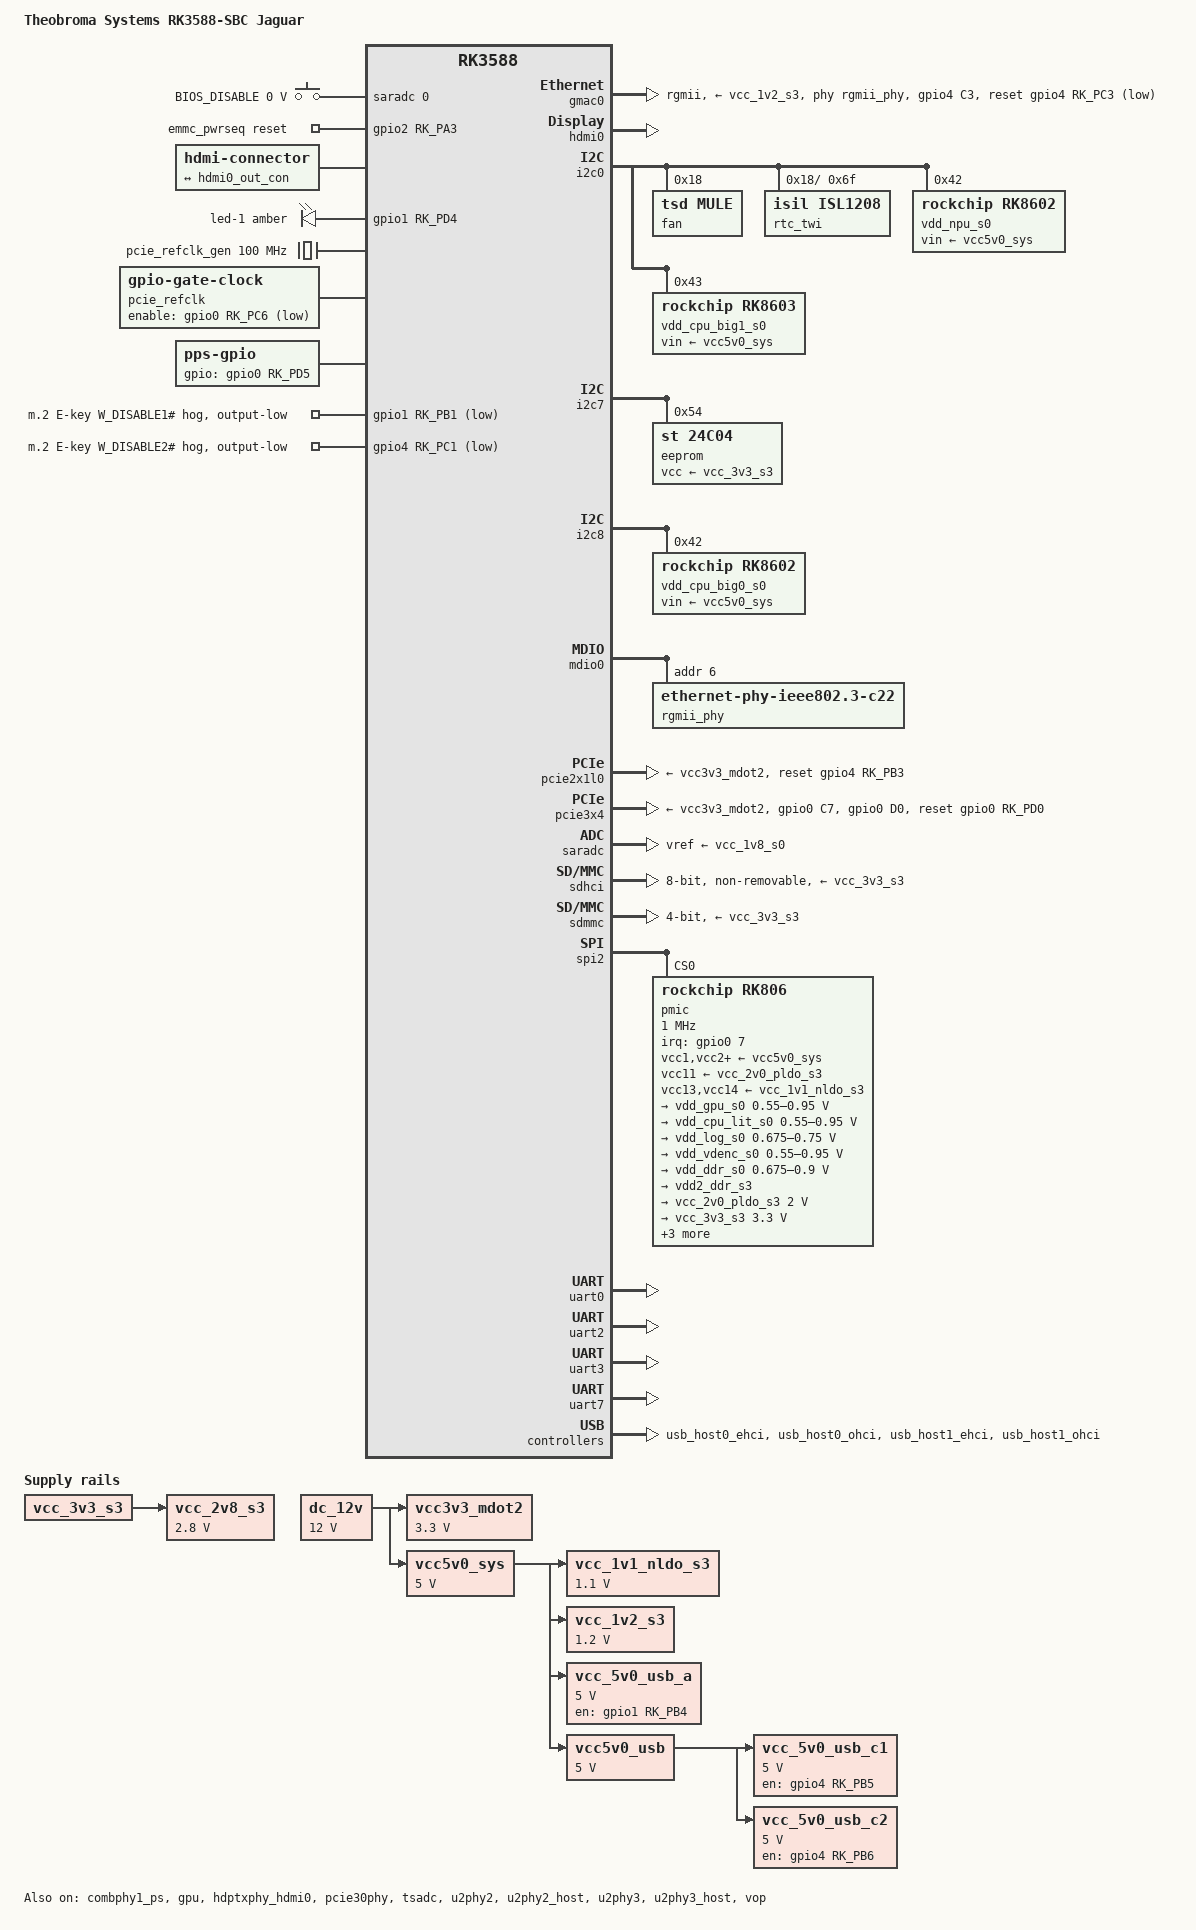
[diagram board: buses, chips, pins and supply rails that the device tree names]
// SPDX-License-Identifier: (GPL-2.0+ OR MIT)
/*
 * Copyright (c) 2023 Theobroma Systems Design und Consulting GmbH
 */

/dts-v1/;
#include <dt-bindings/gpio/gpio.h>
#include <dt-bindings/input/input.h>
#include <dt-bindings/leds/common.h>
#include <dt-bindings/pinctrl/rockchip.h>
#include <dt-bindings/soc/rockchip,vop2.h>
#include <dt-bindings/usb/pd.h>
#include "rk3588.dtsi"

/ {
	model = "Theobroma Systems RK3588-SBC Jaguar";
	compatible = "tsd,rk3588-jaguar", "rockchip,rk3588";

	adc-keys {
		compatible = "adc-keys";
		io-channels = <&saradc 0>;
		io-channel-names = "buttons";
		keyup-threshold-microvolt = <1800000>;
		poll-interval = <100>;

		/* Can be controlled through SW2 but also GPIO1 on CP2102 on P20 */
		button-bios-disable {
			label = "BIOS_DISABLE";
			linux,code = <KEY_VENDOR>;
			press-threshold-microvolt = <0>;
		};
	};

	aliases {
		ethernet0 = &gmac0;
		i2c10 = &i2c10;
		mmc0 = &sdhci;
		mmc1 = &sdmmc;
		rtc0 = &rtc_twi;
	};

	chosen {
		stdout-path = "serial2:115200n8";
	};

	/* DCIN is 12-24V but standard is 12V */
	dc_12v: regulator-dc-12v {
		compatible = "regulator-fixed";
		regulator-name = "dc_12v";
		regulator-always-on;
		regulator-boot-on;
		regulator-min-microvolt = <12000000>;
		regulator-max-microvolt = <12000000>;
	};

	emmc_pwrseq: emmc-pwrseq {
		compatible = "mmc-pwrseq-emmc";
		pinctrl-0 = <&emmc_reset>;
		pinctrl-names = "default";
		reset-gpios = <&gpio2 RK_PA3 GPIO_ACTIVE_HIGH>;
	};

	hdmi-con {
		compatible = "hdmi-connector";
		type = "a";

		port {
			hdmi_con_in: endpoint {
				remote-endpoint = <&hdmi0_out_con>;
			};
		};
	};

	leds {
		compatible = "gpio-leds";
		pinctrl-names = "default";
		pinctrl-0 = <&led1_pin>;

		/* LED1 on PCB */
		led-1 {
			gpios = <&gpio1 RK_PD4 GPIO_ACTIVE_HIGH>;
			function = LED_FUNCTION_HEARTBEAT;
			linux,default-trigger = "heartbeat";
			color = <LED_COLOR_ID_AMBER>;
		};
	};

	/*
	 * 100MHz reference clock for PCIe peripherals from PI6C557-05BLE
	 * clock generator.
	 * The clock output is gated via the OE pin on the clock generator.
	 * This is modeled as a fixed-clock plus a gpio-gate-clock.
	 */
	pcie_refclk_gen: pcie-refclk-gen-clock {
		compatible = "fixed-clock";
		#clock-cells = <0>;
		clock-frequency = <100000000>;
	};

	pcie_refclk: pcie-refclk-clock {
		compatible = "gpio-gate-clock";
		clocks = <&pcie_refclk_gen>;
		#clock-cells = <0>;
		enable-gpios = <&gpio0 RK_PC6 GPIO_ACTIVE_LOW>; /* PCIE30X4_CLKREQN_M0 */
		pinctrl-names = "default";
		pinctrl-0 = <&pcie30x4_clkreqn_m0>;
	};

	pps {
		compatible = "pps-gpio";
		gpios = <&gpio0 RK_PD5 GPIO_ACTIVE_HIGH>;
	};

	vcc_1v1_nldo_s3: regulator-vcc-1v1-nldo-s3 {
		compatible = "regulator-fixed";
		regulator-name = "vcc_1v1_nldo_s3";
		regulator-always-on;
		regulator-boot-on;
		regulator-min-microvolt = <1100000>;
		regulator-max-microvolt = <1100000>;
		vin-supply = <&vcc5v0_sys>;
	};

	vcc_1v2_s3: regulator-vcc-1v2-s3 {
		compatible = "regulator-fixed";
		regulator-name = "vcc_1v2_s3";
		regulator-always-on;
		regulator-boot-on;
		regulator-min-microvolt = <1200000>;
		regulator-max-microvolt = <1200000>;
		vin-supply = <&vcc5v0_sys>;
	};

	/* Exposed on P14 and P15 */
	vcc_2v8_s3: regulator-vcc-2v8-s3 {
		compatible = "regulator-fixed";
		regulator-name = "vcc_2v8_s3";
		regulator-always-on;
		regulator-boot-on;
		regulator-min-microvolt = <2800000>;
		regulator-max-microvolt = <2800000>;
		vin-supply = <&vcc_3v3_s3>;
	};

	vcc_5v0_usb_a: regulator-vcc-5v0-usb-a {
		compatible = "regulator-fixed";
		regulator-name = "usb_a_vcc";
		regulator-min-microvolt = <5000000>;
		regulator-max-microvolt = <5000000>;
		vin-supply = <&vcc5v0_sys>;
		gpio = <&gpio1 RK_PB4 GPIO_ACTIVE_HIGH>;
		enable-active-high;
	};

	vcc_5v0_usb_c1: regulator-vcc-5v0-usb-c1 {
		compatible = "regulator-fixed";
		regulator-name = "5v_usbc1";
		regulator-min-microvolt = <5000000>;
		regulator-max-microvolt = <5000000>;
		vin-supply = <&vcc5v0_usb>;
		gpio = <&gpio4 RK_PB5 GPIO_ACTIVE_HIGH>;
		enable-active-high;
	};

	vcc_5v0_usb_c2: regulator-vcc-5v0-usb-c2 {
		compatible = "regulator-fixed";
		regulator-name = "5v_usbc2";
		regulator-min-microvolt = <5000000>;
		regulator-max-microvolt = <5000000>;
		vin-supply = <&vcc5v0_usb>;
		gpio = <&gpio4 RK_PB6 GPIO_ACTIVE_HIGH>;
		enable-active-high;
	};

	vcc3v3_mdot2: regulator-vcc3v3-mdot2 {
		compatible = "regulator-fixed";
		regulator-name = "vcc3v3_mdot2";
		regulator-always-on;
		regulator-boot-on;
		regulator-min-microvolt = <3300000>;
		regulator-max-microvolt = <3300000>;
		vin-supply = <&dc_12v>;
	};

	vcc5v0_sys: regulator-vcc5v0-sys {
		compatible = "regulator-fixed";
		regulator-name = "vcc5v0_sys";
		regulator-always-on;
		regulator-boot-on;
		regulator-min-microvolt = <5000000>;
		regulator-max-microvolt = <5000000>;
		vin-supply = <&dc_12v>;
	};

	vcc5v0_usb: regulator-vcc5v0-usb {
		compatible = "regulator-fixed";
		regulator-name = "vcc5v0_usb";
		regulator-always-on;
		regulator-boot-on;
		regulator-min-microvolt = <5000000>;
		regulator-max-microvolt = <5000000>;
		vin-supply = <&vcc5v0_sys>;
	};
};

&combphy1_ps {
	status = "okay";
};

&cpu_b0 {
	cpu-supply = <&vdd_cpu_big0_s0>;
};

&cpu_b1 {
	cpu-supply = <&vdd_cpu_big0_s0>;
};

&cpu_b2 {
	cpu-supply = <&vdd_cpu_big1_s0>;
};

&cpu_b3 {
	cpu-supply = <&vdd_cpu_big1_s0>;
};

&cpu_l0 {
	cpu-supply = <&vdd_cpu_lit_s0>;
};

&cpu_l1 {
	cpu-supply = <&vdd_cpu_lit_s0>;
};

&cpu_l2 {
	cpu-supply = <&vdd_cpu_lit_s0>;
};

&cpu_l3 {
	cpu-supply = <&vdd_cpu_lit_s0>;
};

&gmac0 {
	clock_in_out = "output";
	phy-handle = <&rgmii_phy>;
	phy-mode = "rgmii";
	phy-supply = <&vcc_1v2_s3>;
	pinctrl-names = "default";
	pinctrl-0 = <&gmac0_miim
		     &gmac0_rx_bus2
		     &gmac0_tx_bus2
		     &gmac0_rgmii_clk
		     &gmac0_rgmii_bus
		     &eth0_pins
		     &eth_reset>;
	tx_delay = <0x10>;
	rx_delay = <0x10>;
	snps,reset-gpio = <&gpio4 RK_PC3 GPIO_ACTIVE_LOW>;
	snps,reset-active-low;
	snps,reset-delays-us = <0 10000 100000>;

	status = "okay";
};

&gpio1 {
	mdot2e-w-disable1-n-hog {
		gpios = <RK_PB1 GPIO_ACTIVE_LOW>;
		output-low;
		line-name = "m.2 E-key W_DISABLE1#";
		gpio-hog;
	};
};

&gpio4 {
	mdot2e-w-disable2-n-hog {
		gpios = <RK_PC1 GPIO_ACTIVE_LOW>;
		output-low;
		line-name = "m.2 E-key W_DISABLE2#";
		gpio-hog;
	};
};

&gpu {
	mali-supply = <&vdd_gpu_s0>;
	status = "okay";
};

&hdmi0 {
	/* No CEC on Jaguar */
	pinctrl-names = "default";
	pinctrl-0 = <&hdmim0_tx0_hpd &hdmim0_tx0_scl &hdmim0_tx0_sda>;
	status = "okay";
};

&hdmi0_in {
	hdmi0_in_vp0: endpoint {
		remote-endpoint = <&vp0_out_hdmi0>;
	};
};

&hdmi0_out {
	hdmi0_out_con: endpoint {
		remote-endpoint = <&hdmi_con_in>;
	};
};

&hdptxphy_hdmi0 {
	status = "okay";
};

&i2c0 {
	pinctrl-0 = <&i2c0m2_xfer>;
	status = "okay";

	fan@18 {
		compatible = "tsd,mule", "ti,amc6821";
		reg = <0x18>;

		i2c-mux {
			compatible = "tsd,mule-i2c-mux";
			#address-cells = <1>;
			#size-cells = <0>;

			i2c10: i2c@0 {
				reg = <0x0>;
				#address-cells = <1>;
				#size-cells = <0>;

				rtc_twi: rtc@6f {
					compatible = "isil,isl1208";
					reg = <0x6f>;
				};
			};
		};
	};

	vdd_npu_s0: regulator@42 {
		compatible = "rockchip,rk8602";
		reg = <0x42>;
		fcs,suspend-voltage-selector = <1>;
		regulator-name = "vdd_npu_s0";
		regulator-always-on;
		regulator-boot-on;
		regulator-min-microvolt = <550000>;
		regulator-max-microvolt = <950000>;
		regulator-ramp-delay = <2300>;
		vin-supply = <&vcc5v0_sys>;

		regulator-state-mem {
			regulator-off-in-suspend;
		};
	};

	vdd_cpu_big1_s0: regulator@43 {
		compatible = "rockchip,rk8603", "rockchip,rk8602";
		reg = <0x43>;
		fcs,suspend-voltage-selector = <1>;
		regulator-name = "vdd_cpu_big1_s0";
		regulator-always-on;
		regulator-boot-on;
		regulator-min-microvolt = <550000>;
		regulator-max-microvolt = <1050000>;
		regulator-ramp-delay = <2300>;
		vin-supply = <&vcc5v0_sys>;

		regulator-state-mem {
			regulator-off-in-suspend;
		};
	};
};

&i2c1 {
	pinctrl-0 = <&i2c1m4_xfer>;
};

&i2c6 {
	pinctrl-0 = <&i2c6m4_xfer>;
};

&i2c7 {
	status = "okay";

	/* SE050 Secure Element at 0x48; GPIO1_A4 for enable pin */

	/* Also on 0x55 */
	eeprom@54 {
		compatible = "st,24c04", "atmel,24c04";
		reg = <0x54>;
		pagesize = <16>;
		vcc-supply = <&vcc_3v3_s3>;
	};
};

&i2c8 {
	pinctrl-0 = <&i2c8m2_xfer>;
	status = "okay";

	vdd_cpu_big0_s0: regulator@42 {
		compatible = "rockchip,rk8602";
		reg = <0x42>;
		fcs,suspend-voltage-selector = <1>;
		regulator-name = "vdd_cpu_big0_s0";
		regulator-always-on;
		regulator-boot-on;
		regulator-min-microvolt = <550000>;
		regulator-max-microvolt = <1050000>;
		regulator-ramp-delay = <2300>;
		vin-supply = <&vcc5v0_sys>;

		regulator-state-mem {
			regulator-off-in-suspend;
		};
	};
};

&mdio0 {
	rgmii_phy: ethernet-phy@6 {
		/* KSZ9031 or KSZ9131 */
		compatible = "ethernet-phy-ieee802.3-c22";
		reg = <0x6>;
		clocks = <&cru REFCLKO25M_ETH0_OUT>;
	};
};

&pcie2x1l0 {
	reset-gpios = <&gpio4 RK_PB3 GPIO_ACTIVE_HIGH>; /* WIFI_PERST0# */
	vpcie3v3-supply = <&vcc3v3_mdot2>;
	status = "okay";
};

&pcie30phy {
	status = "okay";
};

&pcie3x4 {
	/*
	 * The board has a gpio-controlled "pcie_refclk" generator,
	 * so add it to the list of clocks.
	 */
	clocks = <&cru ACLK_PCIE_4L_MSTR>, <&cru ACLK_PCIE_4L_SLV>,
		 <&cru ACLK_PCIE_4L_DBI>, <&cru PCLK_PCIE_4L>,
		 <&cru CLK_PCIE_AUX0>, <&cru CLK_PCIE4L_PIPE>,
		 <&pcie_refclk>;
	clock-names = "aclk_mst", "aclk_slv",
		      "aclk_dbi", "pclk",
		      "aux", "pipe",
		      "ref";
	pinctrl-names = "default";
	pinctrl-0 = <&pcie30x4_waken_m0 &pcie30x4_perstn_m0>;
	reset-gpios = <&gpio0 RK_PD0 GPIO_ACTIVE_HIGH>; /* PCIE30X4_PERSTN_M0 */
	vpcie3v3-supply = <&vcc3v3_mdot2>;
	status = "okay";
};

&pinctrl {
	emmc {
		emmc_reset: emmc-reset {
			rockchip,pins = <2 RK_PA3 RK_FUNC_GPIO &pcfg_pull_none>;
		};
	};

	ethernet {
		eth_reset: eth-reset {
			rockchip,pins = <4 RK_PC3 RK_FUNC_GPIO &pcfg_pull_none>;
		};
	};

	leds {
		led1_pin: led1-pin {
			rockchip,pins = <1 RK_PD4 RK_FUNC_GPIO &pcfg_pull_none>;
		};
	};

	pcie30x4 {
		pcie30x4_clkreqn_m0: pcie30x4-clkreqn-m0 {
			rockchip,pins = <0 RK_PC6 RK_FUNC_GPIO &pcfg_pull_none>;
		};

		pcie30x4_perstn_m0: pcie30x4-perstn-m0 {
			rockchip,pins = <0 RK_PD0 RK_FUNC_GPIO &pcfg_pull_none>;
		};

		pcie30x4_waken_m0: pcie30x4-waken-m0 {
			rockchip,pins = <0 RK_PC7 12 &pcfg_pull_none>;
		};
	};
};

&saradc {
	vref-supply = <&vcc_1v8_s0>;
	status = "okay";
};

&sdhci {
	bus-width = <8>;
	cap-mmc-highspeed;
	mmc-ddr-1_8v;
	mmc-hs200-1_8v;
	mmc-hs400-1_8v;
	mmc-hs400-enhanced-strobe;
	mmc-pwrseq = <&emmc_pwrseq>;
	no-sdio;
	no-sd;
	non-removable;
	pinctrl-names = "default";
	pinctrl-0 = <&emmc_bus8 &emmc_cmd &emmc_clk &emmc_data_strobe>;
	vmmc-supply = <&vcc_3v3_s3>;
	vqmmc-supply = <&vcc_1v8_s3>;
	status = "okay";
};

&sdmmc {
	broken-cd;
	bus-width = <4>;
	cap-sd-highspeed;
	disable-wp;
	max-frequency = <150000000>;
	pinctrl-names = "default";
	pinctrl-0 = <&sdmmc_bus4 &sdmmc_cmd &sdmmc_clk>;
	sd-uhs-sdr12;
	sd-uhs-sdr25;
	sd-uhs-sdr50;
	sd-uhs-ddr50;
	sd-uhs-sdr104;
	vmmc-supply = <&vcc_3v3_s3>;
	vqmmc-supply = <&vccio_sd_s0>;
	status = "okay";
};

&spi2 {
	assigned-clocks = <&cru CLK_SPI2>;
	assigned-clock-rates = <200000000>;
	num-cs = <1>;
	pinctrl-names = "default";
	pinctrl-0 = <&spi2m2_cs0 &spi2m2_pins>;
	status = "okay";

	pmic@0 {
		compatible = "rockchip,rk806";
		reg = <0x0>;
		interrupt-parent = <&gpio0>;
		interrupts = <7 IRQ_TYPE_LEVEL_LOW>;
		gpio-controller;
		#gpio-cells = <2>;
		pinctrl-names = "default";
		pinctrl-0 = <&pmic_pins>, <&rk806_dvs1_null>,
			    <&rk806_dvs2_null>, <&rk806_dvs3_null>;
		spi-max-frequency = <1000000>;
		system-power-controller;
		vcc1-supply = <&vcc5v0_sys>;
		vcc2-supply = <&vcc5v0_sys>;
		vcc3-supply = <&vcc5v0_sys>;
		vcc4-supply = <&vcc5v0_sys>;
		vcc5-supply = <&vcc5v0_sys>;
		vcc6-supply = <&vcc5v0_sys>;
		vcc7-supply = <&vcc5v0_sys>;
		vcc8-supply = <&vcc5v0_sys>;
		vcc9-supply = <&vcc5v0_sys>;
		vcc10-supply = <&vcc5v0_sys>;
		vcc11-supply = <&vcc_2v0_pldo_s3>;
		vcc12-supply = <&vcc5v0_sys>;
		vcc13-supply = <&vcc_1v1_nldo_s3>;
		vcc14-supply = <&vcc_1v1_nldo_s3>;
		vcca-supply = <&vcc5v0_sys>;

		rk806_dvs1_null: dvs1-null-pins {
			pins = "gpio_pwrctrl1";
			function = "pin_fun0";
		};

		rk806_dvs2_null: dvs2-null-pins {
			pins = "gpio_pwrctrl2";
			function = "pin_fun0";
		};

		rk806_dvs3_null: dvs3-null-pins {
			pins = "gpio_pwrctrl3";
			function = "pin_fun0";
		};

		regulators {
			vdd_gpu_s0: dcdc-reg1 {
				regulator-boot-on;
				regulator-min-microvolt = <550000>;
				regulator-max-microvolt = <950000>;
				regulator-ramp-delay = <12500>;
				regulator-name = "vdd_gpu_s0";
				regulator-enable-ramp-delay = <400>;

				regulator-state-mem {
					regulator-off-in-suspend;
				};
			};

			vdd_cpu_lit_s0: dcdc-reg2 {
				regulator-name = "vdd_cpu_lit_s0";
				regulator-always-on;
				regulator-boot-on;
				regulator-min-microvolt = <550000>;
				regulator-max-microvolt = <950000>;
				regulator-ramp-delay = <12500>;

				regulator-state-mem {
					regulator-off-in-suspend;
				};
			};

			vdd_log_s0: dcdc-reg3 {
				regulator-name = "vdd_log_s0";
				regulator-always-on;
				regulator-boot-on;
				regulator-min-microvolt = <675000>;
				regulator-max-microvolt = <750000>;
				regulator-ramp-delay = <12500>;

				regulator-state-mem {
					regulator-off-in-suspend;
					regulator-suspend-microvolt = <750000>;
				};
			};

			vdd_vdenc_s0: dcdc-reg4 {
				regulator-name = "vdd_vdenc_s0";
				regulator-always-on;
				regulator-boot-on;
				regulator-min-microvolt = <550000>;
				regulator-max-microvolt = <950000>;
				regulator-ramp-delay = <12500>;

				regulator-state-mem {
					regulator-off-in-suspend;
				};
			};

			vdd_ddr_s0: dcdc-reg5 {
				regulator-name = "vdd_ddr_s0";
				regulator-always-on;
				regulator-boot-on;
				regulator-min-microvolt = <675000>;
				regulator-max-microvolt = <900000>;
				regulator-ramp-delay = <12500>;

				regulator-state-mem {
					regulator-off-in-suspend;
					regulator-suspend-microvolt = <850000>;
				};
			};

			vdd2_ddr_s3: dcdc-reg6 {
				regulator-name = "vdd2_ddr_s3";
				regulator-always-on;
				regulator-boot-on;

				regulator-state-mem {
					regulator-on-in-suspend;
				};
			};

			vcc_2v0_pldo_s3: dcdc-reg7 {
				regulator-name = "vdd_2v0_pldo_s3";
				regulator-always-on;
				regulator-boot-on;
				regulator-min-microvolt = <2000000>;
				regulator-max-microvolt = <2000000>;
				regulator-ramp-delay = <12500>;

				regulator-state-mem {
					regulator-on-in-suspend;
					regulator-suspend-microvolt = <2000000>;
				};
			};

			vcc_3v3_s3: dcdc-reg8 {
				regulator-name = "vcc_3v3_s3";
				regulator-always-on;
				regulator-boot-on;
				regulator-min-microvolt = <3300000>;
				regulator-max-microvolt = <3300000>;

				regulator-state-mem {
					regulator-on-in-suspend;
					regulator-suspend-microvolt = <3300000>;
				};
			};

			vddq_ddr_s0: dcdc-reg9 {
				regulator-name = "vddq_ddr_s0";
				regulator-always-on;
				regulator-boot-on;

				regulator-state-mem {
					regulator-off-in-suspend;
				};
			};

			vcc_1v8_s3: dcdc-reg10 {
				regulator-name = "vcc_1v8_s3";
				regulator-always-on;
				regulator-boot-on;
				regulator-min-microvolt = <1800000>;
				regulator-max-microvolt = <1800000>;

				regulator-state-mem {
					regulator-on-in-suspend;
					regulator-suspend-microvolt = <1800000>;
				};
			};

			vcca_1v8_s0: pldo-reg1 {
				regulator-name = "vcca_1v8_s0";
				regulator-always-on;
				regulator-boot-on;
				regulator-min-microvolt = <1800000>;
				regulator-max-microvolt = <1800000>;

				regulator-state-mem {
					regulator-off-in-suspend;
				};
			};

			vcc_1v8_s0: pldo-reg2 {
				regulator-name = "vcc_1v8_s0";
				regulator-always-on;
				regulator-boot-on;
				regulator-min-microvolt = <1800000>;
				regulator-max-microvolt = <1800000>;

				regulator-state-mem {
					regulator-off-in-suspend;
					regulator-suspend-microvolt = <1800000>;
				};
			};

			vdda_1v2_s0: pldo-reg3 {
				regulator-name = "vdda_1v2_s0";
				regulator-always-on;
				regulator-boot-on;
				regulator-min-microvolt = <1200000>;
				regulator-max-microvolt = <1200000>;

				regulator-state-mem {
					regulator-off-in-suspend;
				};
			};

			vcca_3v3_s0: pldo-reg4 {
				regulator-name = "vcca_3v3_s0";
				regulator-always-on;
				regulator-boot-on;
				regulator-min-microvolt = <3300000>;
				regulator-max-microvolt = <3300000>;
				regulator-ramp-delay = <12500>;

				regulator-state-mem {
					regulator-off-in-suspend;
				};
			};

			vccio_sd_s0: pldo-reg5 {
				regulator-name = "vccio_sd_s0";
				regulator-always-on;
				regulator-boot-on;
				regulator-min-microvolt = <1800000>;
				regulator-max-microvolt = <3300000>;
				regulator-ramp-delay = <12500>;

				regulator-state-mem {
					regulator-off-in-suspend;
				};
			};

			pldo6_s3: pldo-reg6 {
				regulator-name = "pldo6_s3";
				regulator-always-on;
				regulator-boot-on;
				regulator-min-microvolt = <1800000>;
				regulator-max-microvolt = <1800000>;

				regulator-state-mem {
					regulator-on-in-suspend;
					regulator-suspend-microvolt = <1800000>;
				};
			};

			vdd_0v75_s3: nldo-reg1 {
				regulator-name = "vdd_0v75_s3";
				regulator-always-on;
				regulator-boot-on;
				regulator-min-microvolt = <750000>;
				regulator-max-microvolt = <750000>;

				regulator-state-mem {
					regulator-on-in-suspend;
					regulator-suspend-microvolt = <750000>;
				};
			};

			vdda_ddr_pll_s0: nldo-reg2 {
				regulator-name = "vdda_ddr_pll_s0";
				regulator-always-on;
				regulator-boot-on;
				regulator-min-microvolt = <850000>;
				regulator-max-microvolt = <850000>;

				regulator-state-mem {
					regulator-off-in-suspend;
					regulator-suspend-microvolt = <850000>;
				};
			};

			vdda_0v75_s0: nldo-reg3 {
				regulator-name = "vdda_0v75_s0";
				regulator-always-on;
				regulator-boot-on;
				regulator-min-microvolt = <750000>;
				regulator-max-microvolt = <750000>;

				regulator-state-mem {
					regulator-off-in-suspend;
				};
			};

			vdda_0v85_s0: nldo-reg4 {
				regulator-name = "vdda_0v85_s0";
				regulator-always-on;
				regulator-boot-on;
				regulator-min-microvolt = <850000>;
				regulator-max-microvolt = <850000>;

				regulator-state-mem {
					regulator-off-in-suspend;
				};
			};

			vdd_0v75_s0: nldo-reg5 {
				regulator-name = "vdd_0v75_s0";
				regulator-always-on;
				regulator-boot-on;
				regulator-min-microvolt = <750000>;
				regulator-max-microvolt = <750000>;

				regulator-state-mem {
					regulator-off-in-suspend;
				};
			};
		};
	};
};

&tsadc {
	status = "okay";
};

&u2phy2 {
	status = "okay";
};

&u2phy2_host {
	phy-supply = <&vcc_5v0_usb_a>;
	status = "okay";
};

&u2phy3 {
	status = "okay";
};

&u2phy3_host {
	status = "okay";
};

/* Mule-ATtiny debug UART; typically baudrate 9600 */
&uart0 {
	pinctrl-0 = <&uart0m0_xfer>;
	status = "okay";
};

/* Main debug interface on P20 micro-USB B port and P21 header */
&uart2 {
	pinctrl-0 = <&uart2m0_xfer>;
	status = "okay";
};

/* RS485 on P19 */
&uart3 {
	pinctrl-0 = <&uart3m2_xfer &uart3_rtsn>;
	linux,rs485-enabled-at-boot-time;
	status = "okay";
};

/* Mule-ATtiny UPDI flashing UART */
&uart7 {
	pinctrl-0 = <&uart7m0_xfer>;
	status = "okay";
};

/* host0 on P10 USB-A */
&usb_host0_ehci {
	status = "okay";
};

/* host0 on P10 USB-A */
&usb_host0_ohci {
	status = "okay";
};

/* host1 on M.2 E-key */
&usb_host1_ehci {
	status = "okay";
};

/* host1 on M.2 E-key */
&usb_host1_ohci {
	status = "okay";
};

&vop {
	status = "okay";
};

&vop_mmu {
	status = "okay";
};

&vp0 {
	vp0_out_hdmi0: endpoint@ROCKCHIP_VOP2_EP_HDMI0 {
		reg = <ROCKCHIP_VOP2_EP_HDMI0>;
		remote-endpoint = <&hdmi0_in_vp0>;
	};
};
